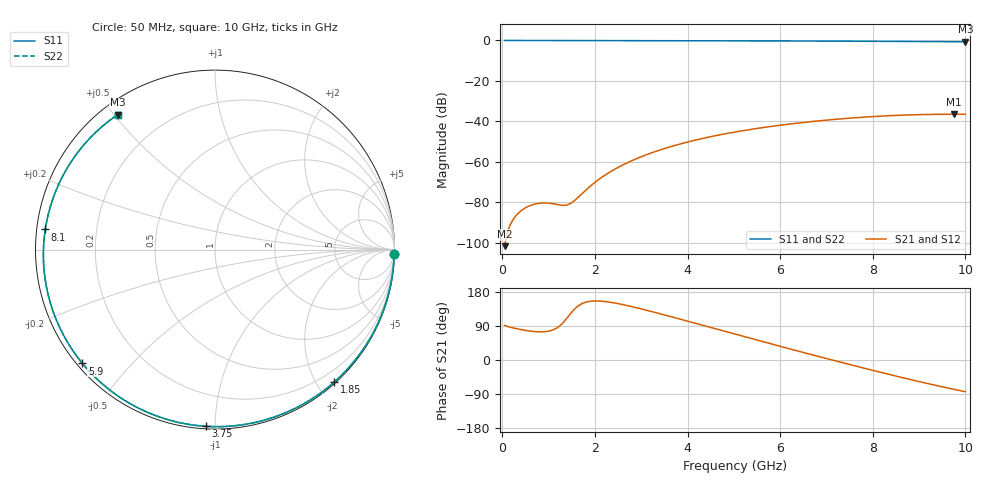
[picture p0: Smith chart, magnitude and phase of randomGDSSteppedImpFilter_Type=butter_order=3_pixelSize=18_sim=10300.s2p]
! freq	dB(S11)	phase(S11)	dB(S12)	phase(S12)
!  dB(S21)	phase(S21)	dB(S22)	phase(S22)
!S-par simulation data
#  GHz  S  DB  R 50
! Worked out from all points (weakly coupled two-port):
!   200 points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, 50 MHz to 10 GHz, reference 50 ohm
!   highest |S21| = -36.43 dB at 9.75 GHz (marker M1); lowest = -101.6 dB at 50 MHz (marker M2)
!   lowest |S11| = -0.7 dB at 10 GHz (marker M3), VSWR 26.39, Z = 2.39 + j25.5 ohm
!   |S11| at or under -10 dB: nowhere
!   |S22| runs from -0.7 to 0.0 dB; largest |S21 - S12| = 0
!   S11 on the Smith chart (normalised r, x): 50 MHz: 2, -89; 1.85 GHz: 0.02, -2.25; 3.75 GHz: 0.01, -0.95; 5.9 GHz: 0.02, -0.37; 8.1 GHz: 0.02, +0.06; 10 GHz: 0.05, +0.51
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0.05  -0.00 -1.3  -101.59 91.6  -101.59 91.6  -0.00 -1.3
0.4  -0.02 -10.5  -84.21 80.4  -84.21 80.4  -0.02 -10.6
0.75  -0.03 -19.7  -80.59 74.6  -80.59 74.6  -0.03 -19.7
1.5  -0.05 -39.1  -80.09 126.4  -80.09 126.4  -0.05 -39.1
1.6  -0.05 -41.6  -78.27 138.9  -78.27 138.9  -0.05 -41.6
1.75  -0.06 -45.4  -75.05 150.2  -75.05 150.2  -0.06 -45.4
1.85  -0.06 -47.9  -72.95 153.9  -72.95 153.9  -0.06 -47.9
2.15  -0.07 -55.3  -67.55 155.1  -67.55 155.1  -0.07 -55.3
2.5  -0.08 -63.9  -62.69 148.7  -62.69 148.7  -0.08 -63.9
2.9  -0.09 -73.4  -58.36 137.9  -58.36 137.9  -0.09 -73.4
3.4  -0.11 -85.0  -54.12 122.3  -54.12 122.3  -0.11 -85.0
3.75  -0.12 -93.0  -51.70 110.8  -51.70 110.8  -0.12 -93.0
4.4  -0.15 -107.4  -48.02 89.1  -48.02 89.1  -0.15 -107.4
5.05  -0.18 -121.4  -45.12 67.3  -45.12 67.3  -0.18 -121.4
5.9  -0.23 -139.3  -42.17 39.3  -42.17 39.3  -0.23 -139.3
6.7  -0.29 -156.2  -40.02 13.4  -40.02 13.4  -0.29 -156.2
7.4  -0.35 -171.2  -38.55 -8.7  -38.55 -8.7  -0.35 -171.2
8.1  -0.42 173.2  -37.46 -30.4  -37.46 -30.4  -0.42 173.2
8.35  -0.45 167.5  -37.17 -38.0  -37.17 -38.0  -0.45 167.5
9.05  -0.54 150.7  -36.61 -58.4  -36.61 -58.4  -0.54 150.7
9.75  -0.63 132.6  -36.43 -77.4  -36.43 -77.4  -0.63 132.6
10  -0.66 125.8  -36.45 -83.7  -36.45 -83.7  -0.66 125.8
